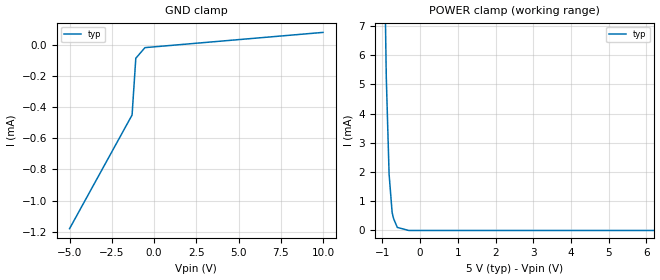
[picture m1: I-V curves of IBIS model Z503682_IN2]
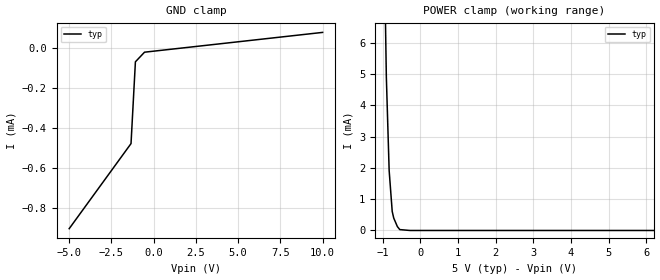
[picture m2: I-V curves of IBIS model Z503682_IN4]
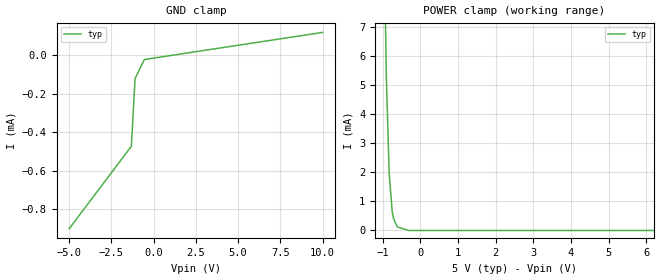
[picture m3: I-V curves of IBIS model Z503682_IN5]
| YOU ARE ONLY AUTHORIZED TO USE THIS SOFTWARE
| ACCORDING TO LICENSOR'S LICENSE RESTRICTIONS.
[IBIS Ver] 3.1
[File Name] mc14569bcp.ibs
[File Rev] 2.0
[Source] Measured and created by ICX Technology
[Date] Friday 7/14/00 9:07:57 AM
[Copyright]
| (C) COPYRIGHT 1993-2000
| MENTOR GRAPHICS CORPORATION
| ICX STANDARD LIBRARY, ICX PROJECT MODELING,
| ICX CUSTOM MODELING, ICX VENDOR MODEL
| ALL RIGHTS RESERVED.
| THE FOLLOWING ARE TRADEMARKS OR SERVICE MARKS OF
| MENTOR GRAPHICS CORPORATION:ICX (R), ICX STANDARD
| LIBRARY(R), ICX PROJECT MODELING(R), ICX CUSTOM
| MODELING(R), qualityIBIS(TM), MODELVIEWER(TM),
| AND MODELEDITOR(TM)
| ALL COPIES OF SOFTWARE, INCLUDING BUT NOT LIMITED TO
| ANY MODIFICATIONS, ENHANCEMENTS OR DERIVATIVE WORKS,
| MUST CONTAIN ALL MENTOR GRAPHICS CORPORATION'S
| NOTICES AND LEGENDS, INCLUDING THOSE EMBEDDED IN
| SOFTWARE AND THOSE AFFIXED TO SOFTWARE MEDIUM
| AND CONTAINER, AS RECEIVED FROM MENTOR GRAPHICS
| CORPORATION.
|  ZAP Model Builder 2.7
[Component] MC14569BCP
[Manufacturer] OnSemiconductor
[Package]
| variable   typ   min   max
R_pkg  .212ohms NA NA
L_pkg  4.758nH NA NA
C_pkg  1.143pF NA NA
[Pin] signal_name  model_name  R_pin  L_pin C_pin
1 PEOUT Z503682_OUT1 .224 7.258n 1.578p
2 CTLA Z503682_IN2 .216 5.258n 1.288p
3 DPA1 Z503682_IN3 .208 3.758n .998p
4 DPA2 Z503682_IN3 .2 2.758n .708p
5 DPA3 Z503682_IN4 .2 2.758n .708p
6 DPA4 Z503682_IN4 .208 3.758n .998p
7 CF Z503682_IN5 .216 5.258n 1.288p
8 VSS GND .224 7.258n 1.578p
9 C Z503682_IN6 .224 7.258n 1.578p
10 CTLB Z503682_IN2 .216 5.258n 1.288p
11 DPB1 Z503682_IN7 .208 3.758n .998p
12 DPB2 Z503682_IN7 .2 2.758n .708p
13 DPB3 Z503682_IN8 .2 2.758n .708p
14 DPB4 Z503682_IN8 .208 3.758n .998p
15 Q Z503682_OUT9 .216 5.258n 1.288p
16 VDD POWER .224 7.258n 1.578p
| Models and submodels in the file (9): Z503682_IN2 (Input), Z503682_IN3 (Input), Z503682_IN4 (Input), Z503682_IN5 (Input), Z503682_IN6 (Input), Z503682_IN7 (Input), Z503682_IN8 (Input), Z503682_OUT1 (Output), Z503682_OUT9 (Output)
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| (C) COPYRIGHT 1993-2000
| MENTOR GRAPHICS CORPORATION
| ICX STANDARD LIBRARY, ICX PROJECT MODELING,
| ICX CUSTOM MODELING, ICX VENDOR MODEL
| ALL RIGHTS RESERVED.
| THE FOLLOWING ARE TRADEMARKS OR SERVICE MARKS OF
| MENTOR GRAPHICS CORPORATION:ICX (R), ICX STANDARD
| LIBRARY(R), ICX PROJECT MODELING(R), ICX CUSTOM
| MODELING(R), qualityIBIS(TM), MODELVIEWER(TM),
| AND MODELEDITOR(TM)
| ALL COPIES OF SOFTWARE, INCLUDING BUT NOT LIMITED TO
| ANY MODIFICATIONS, ENHANCEMENTS OR DERIVATIVE WORKS,
| MUST CONTAIN ALL MENTOR GRAPHICS CORPORATION'S
| NOTICES AND LEGENDS, INCLUDING THOSE EMBEDDED IN
| SOFTWARE AND THOSE AFFIXED TO SOFTWARE MEDIUM
| AND CONTAINER, AS RECEIVED FROM MENTOR GRAPHICS
| CORPORATION.
| Model Application Version 1.89 2/18/99.
[Model] Z503682_IN2
Model_type Input
Vinl = 1.500V
Vinh = 3.500V
C_comp 5.000pF NA NA
| variable typ   min   max
[Voltage Range] 5.000V NA NA
[GND Clamp Reference] 0.000V NA NA
[POWER Clamp Reference] 5.000V NA NA
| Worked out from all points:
|   POWER clamp passes 1 mA (typ) near -0.77 V on its own axis
[GND Clamp]
-5V       -1.179mA   NA         NA
-1.301V   -450.9uA   NA         NA
-1.081V   -87.63uA   NA         NA
-540.5mV  -19.53uA   NA         NA
10V       78.07uA    NA         NA
[POWER Clamp]
-5V       662.2mA    NA         NA
-1.205V   40.16mA    NA         NA
-1.029V   16.68mA    NA         NA
-899mV    5.261mA    NA         NA
-824mV    1.924mA    NA         NA
-743mV    609uA      NA         NA
-703mV    400uA      NA         NA
-606mV    104.5uA    NA         NA
-303mV    0A         NA         NA
10V       0A         NA         NA
| (C) COPYRIGHT 1993-2000
| MENTOR GRAPHICS CORPORATION
| ICX STANDARD LIBRARY, ICX PROJECT MODELING,
| ICX CUSTOM MODELING, ICX VENDOR MODEL
| ALL RIGHTS RESERVED.
| THE FOLLOWING ARE TRADEMARKS OR SERVICE MARKS OF
| MENTOR GRAPHICS CORPORATION:ICX (R), ICX STANDARD
| LIBRARY(R), ICX PROJECT MODELING(R), ICX CUSTOM
| MODELING(R), qualityIBIS(TM), MODELVIEWER(TM),
| AND MODELEDITOR(TM)
| ALL COPIES OF SOFTWARE, INCLUDING BUT NOT LIMITED TO
| ANY MODIFICATIONS, ENHANCEMENTS OR DERIVATIVE WORKS,
| MUST CONTAIN ALL MENTOR GRAPHICS CORPORATION'S
| NOTICES AND LEGENDS, INCLUDING THOSE EMBEDDED IN
| SOFTWARE AND THOSE AFFIXED TO SOFTWARE MEDIUM
| AND CONTAINER, AS RECEIVED FROM MENTOR GRAPHICS
| CORPORATION.
| Model Application Version 1.89 2/18/99.
[Model] Z503682_IN4
Model_type Input
Vinl = 1.500V
Vinh = 3.500V
C_comp 5.000pF NA NA
| variable typ   min   max
[Voltage Range] 5.000V NA NA
[GND Clamp Reference] 0.000V NA NA
[POWER Clamp Reference] 5.000V NA NA
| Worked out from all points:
|   POWER clamp passes 1 mA (typ) near -0.77 V on its own axis
[GND Clamp]
-5V       -901.5uA   NA         NA
-1.34V    -476.1uA   NA         NA
-1.081V   -67.22uA   NA         NA
-540.5mV  -19.17uA   NA         NA
10V       79.77uA    NA         NA
[POWER Clamp]
-5V       559.6mA    NA         NA
-1.21V    35.32mA    NA         NA
-1.031V   15.04mA    NA         NA
-899mV    4.917mA    NA         NA
-824mV    1.913mA    NA         NA
-743mV    609.5uA    NA         NA
-703mV    397.7uA    NA         NA
-606mV    124.9uA    NA         NA
-542mV    28.48uA    NA         NA
-271mV    0A         NA         NA
10V       0A         NA         NA
| (C) COPYRIGHT 1993-2000
| MENTOR GRAPHICS CORPORATION
| ICX STANDARD LIBRARY, ICX PROJECT MODELING,
| ICX CUSTOM MODELING, ICX VENDOR MODEL
| ALL RIGHTS RESERVED.
| THE FOLLOWING ARE TRADEMARKS OR SERVICE MARKS OF
| MENTOR GRAPHICS CORPORATION:ICX (R), ICX STANDARD
| LIBRARY(R), ICX PROJECT MODELING(R), ICX CUSTOM
| MODELING(R), qualityIBIS(TM), MODELVIEWER(TM),
| AND MODELEDITOR(TM)
| ALL COPIES OF SOFTWARE, INCLUDING BUT NOT LIMITED TO
| ANY MODIFICATIONS, ENHANCEMENTS OR DERIVATIVE WORKS,
| MUST CONTAIN ALL MENTOR GRAPHICS CORPORATION'S
| NOTICES AND LEGENDS, INCLUDING THOSE EMBEDDED IN
| SOFTWARE AND THOSE AFFIXED TO SOFTWARE MEDIUM
| AND CONTAINER, AS RECEIVED FROM MENTOR GRAPHICS
| CORPORATION.
| Model Application Version 1.89 2/18/99.
[Model] Z503682_IN5
Model_type Input
Vinl = 1.500V
Vinh = 3.500V
C_comp 5.000pF NA NA
| variable typ   min   max
[Voltage Range] 5.000V NA NA
[GND Clamp Reference] 0.000V NA NA
[POWER Clamp Reference] 5.000V NA NA
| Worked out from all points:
|   POWER clamp passes 1 mA (typ) near -0.76 V on its own axis
[GND Clamp]
-5V       -902.3uA   NA         NA
-1.321V   -473.7uA   NA         NA
-1.1V     -121.3uA   NA         NA
-550mV    -22.14uA   NA         NA
10V       119uA      NA         NA
[POWER Clamp]
-5V       633.2mA    NA         NA
-1.206V   38.76mA    NA         NA
-1.029V   16.31mA    NA         NA
-899mV    5.299mA    NA         NA
-824mV    1.973mA    NA         NA
-742mV    635.1uA    NA         NA
-704mV    395.8uA    NA         NA
-606mV    120.2uA    NA         NA
-303mV    0A         NA         NA
10V       0A         NA         NA
